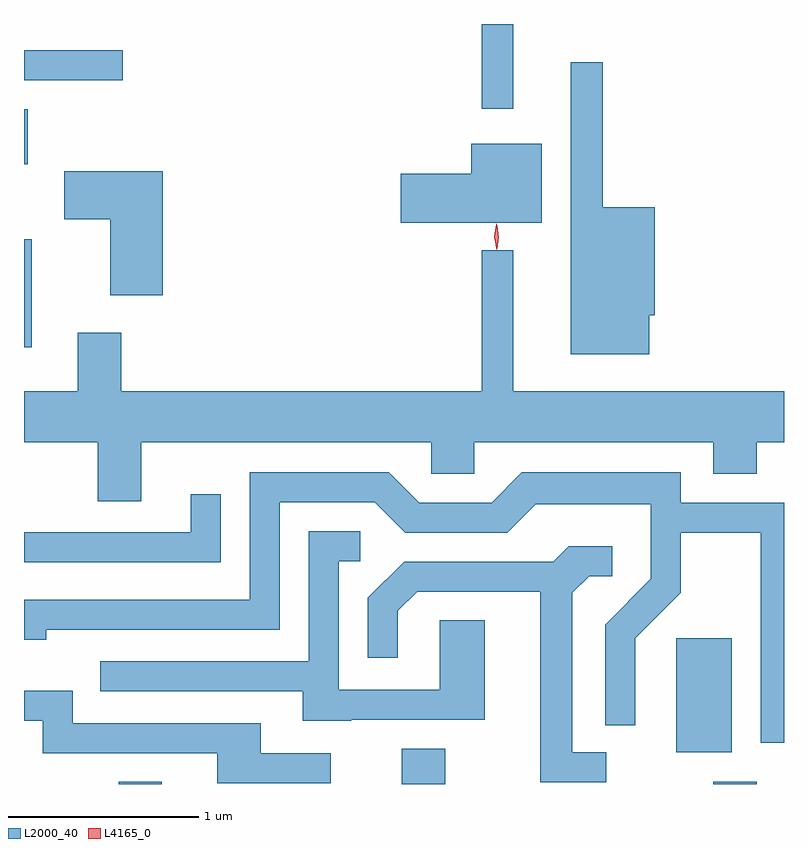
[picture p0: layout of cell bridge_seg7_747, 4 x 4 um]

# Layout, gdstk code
import gdstk
lib = gdstk.Library(unit=1e-6, precision=1e-09)
def R(c, l, rs):  # rectangles x0, y0, x1, y1
    for r in rs: c.add(gdstk.rectangle(r[:2], r[2:], *l))
def P(c, l, *ps):  # polygons
    for p in ps: c.add(gdstk.Polygon(p, *l))
L2000_40 = (2000, 40)
L4165_0 = (4165, 0)

bridge_seg7_747 = lib.new_cell('bridge_seg7_747')
R(bridge_seg7_747, L2000_40, [(459.861,1801.318,460.089,1801.329), (461.351,1801.318,461.579,1801.504), (462.991,1801.318,463.219,1801.329), (462.796,1801.486,463.089,1802.084), (459.363,1803.616,459.404,1804.184), (459.363,1804.581,459.384,1804.869), (461.771,1804.873,461.939,1805.318), (459.363,1805.021,459.883,1805.179)])
P(bridge_seg7_747, L2000_40, [(462.654,1803.786),(462.684,1803.786),(462.684,1804.354),(462.409,1804.354),(462.409,1805.118),(462.241,1805.118),(462.241,1803.581),(462.654,1803.581)],
  [(462.089,1804.689),(461.716,1804.689),(461.716,1804.529),(461.346,1804.529),(461.346,1804.271),(462.089,1804.271)],
  [(460.094,1804.544),(459.576,1804.544),(459.576,1804.291),(459.816,1804.291),(459.816,1803.891),(460.094,1803.891)],
  [(459.979,1803.116),(461.506,1803.116),(461.506,1802.951),(461.734,1802.951),(461.734,1803.116),(462.991,1803.116),(462.991,1802.951),(463.219,1802.951),(463.219,1803.116),(463.363,1803.116),(463.363,1803.384),(461.939,1803.384),(461.939,1804.128),(461.771,1804.128),(461.771,1803.384),(459.874,1803.384),(459.874,1803.694),(459.646,1803.694),(459.646,1803.384),(459.363,1803.384),(459.363,1803.116),(459.751,1803.116),(459.751,1802.806),(459.979,1802.806)],
  [(463.363,1802.799),(462.819,1802.799),(462.819,1802.959),(461.984,1802.959),(461.824,1802.799),(461.442,1802.799),(461.282,1802.959),(460.551,1802.959),(460.551,1802.289),(459.363,1802.289),(459.363,1802.076),(459.479,1802.076),(459.479,1802.131),(460.709,1802.131),(460.709,1802.801),(461.209,1802.801),(461.369,1802.641),(461.907,1802.641),(462.057,1802.791),(462.661,1802.791),(462.661,1802.397),(462.421,1802.157),(462.421,1801.628),(462.579,1801.628),(462.579,1802.084),(462.819,1802.324),(462.819,1802.641),(463.241,1802.641),(463.241,1801.536),(463.363,1801.536)],
  [(460.399,1802.843),(460.241,1802.843),(460.241,1802.644),(459.363,1802.644),(459.363,1802.486),(460.399,1802.486)],
  [(461.085,1801.656),(461.789,1801.656),(461.789,1802.179),(461.551,1802.179),(461.551,1801.814),(461.019,1801.814),(461.019,1802.491),(461.133,1802.491),(461.133,1802.649),(460.861,1802.649),(460.861,1801.964),(459.763,1801.964),(459.763,1801.806),(460.831,1801.806),(460.831,1801.651),(461.085,1801.651)],
  [(462.428,1801.484),(462.249,1801.484),(462.249,1802.324),(462.337,1802.411),(462.458,1802.411),(462.458,1802.569),(462.229,1802.569),(462.149,1802.489),(461.364,1802.489),(461.171,1802.297),(461.171,1801.983),(461.329,1801.983),(461.329,1802.229),(461.432,1802.331),(462.081,1802.331),(462.081,1801.326),(462.428,1801.326)],
  [(460.978,1801.479),(460.609,1801.479),(460.609,1801.639),(459.619,1801.639),(459.619,1801.809),(459.363,1801.809),(459.363,1801.651),(459.461,1801.651),(459.461,1801.481),(460.381,1801.481),(460.381,1801.321),(460.978,1801.321)])
P(bridge_seg7_747, L4165_0, [(461.852,1804.133),(461.852,1804.134),(461.842,1804.196),(461.852,1804.26),(461.852,1804.26),(461.853,1804.26),(461.862,1804.196),(461.853,1804.134)],
  [(461.85,1804.13),(461.85,1804.13),(461.839,1804.198),(461.848,1804.265),(461.849,1804.266),(461.85,1804.265),(461.86,1804.198),(461.85,1804.13)])

lib.write_gds('bridge_seg7_747.gds')
